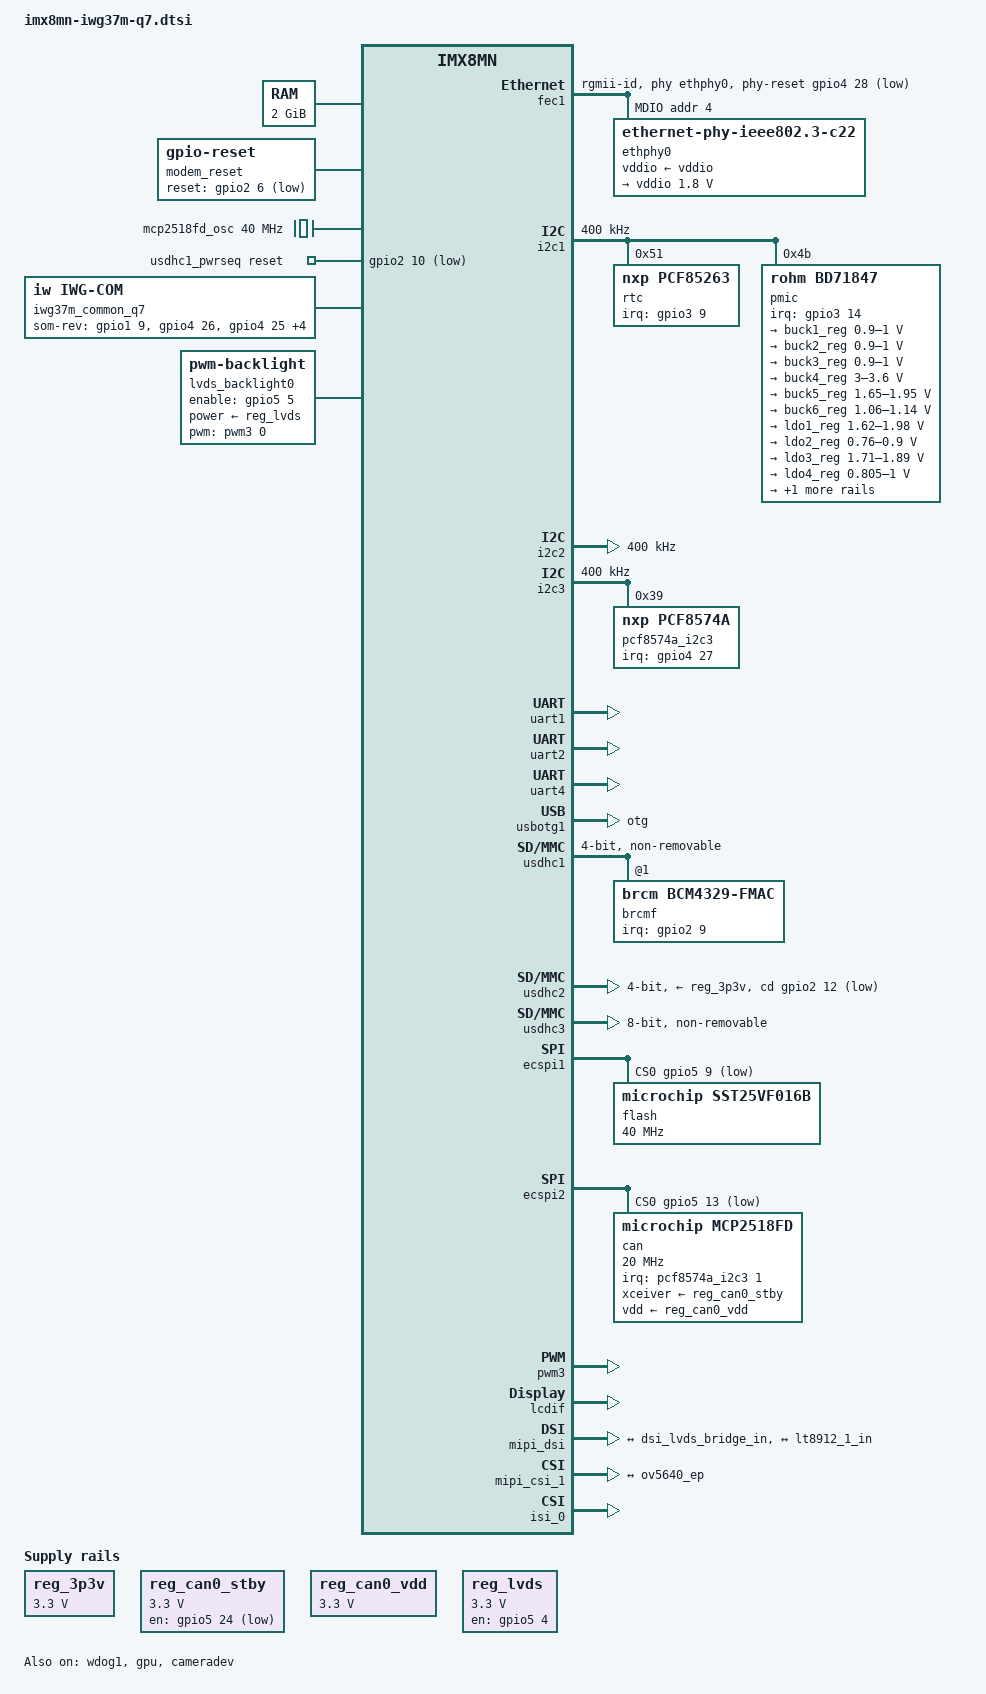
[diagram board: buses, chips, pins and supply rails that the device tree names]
// SPDX-License-Identifier: (GPL-2.0+ OR MIT)
/*
 * Copyright (C) 2022 iWave System Technologies Pvt Ltd.
 *
 * This program is free software; you can redistribute it and/or
 * modify it under the terms of the GNU General Public License
 * as published by the Free Software Foundation; either version 2
 * of the License, or (at your option) any later version.
 *
 * This program is distributed in the hope that it will be useful,
 * but WITHOUT ANY WARRANTY; without even the implied warranty of
 * MERCHANTABILITY or FITNESS FOR A PARTICULAR PURPOSE.  See the
 * GNU General Public License for more details.
 */

/dts-v1/;

#include <dt-bindings/usb/pd.h>
#include "imx8mn.dtsi"

/ {
	chosen {
		stdout-path = &uart4;
	};

	aliases { /* SD/MMC: eMMC/SD slot numbering fix */
		mmc0 = &usdhc3;
		mmc1 = &usdhc2;
		mmc2 = &usdhc1;
	};

	memory@40000000 { /* RAM: 2GB Memory support */
		device_type = "memory";
		reg = <0x0 0x40000000 0 0x80000000>;
	};

	modem_reset: modem-reset { /* BT: BT reset */
		compatible = "gpio-reset";
		reset-gpios = <&gpio2 6 GPIO_ACTIVE_LOW>;
		reset-delay-us = <2000>;
		reset-post-delay-ms = <40>;
		#reset-cells = <0>;
	};

        mcp2518fd_osc: mcp2518fd_osc {
                compatible = "fixed-clock";
                #clock-cells = <0>;
                clock-frequency = <40000000>;
        };

	usdhc1_pwrseq: usdhc1_pwrseq { /* WIFI: WIFI power sequence */
		compatible = "mmc-pwrseq-simple";
		pinctrl-names = "default";
		pinctrl-0 = <&pinctrl_usdhc1_gpio>;
		reset-gpios = <&gpio2 10 GPIO_ACTIVE_LOW>;
	};

	iwg37m_common_q7 { /* SoC Board Setttings : Board Configuration GPIOs */
		compatible = "iw,iwg-com";
		pinctrl-names = "default";
		pinctrl-0 = <&pinctrl_board_cfg>;
                som-rev-gpios = <&gpio1 9 0 &gpio4 26 0 &gpio4 25 0 &gpio5 1 0
                                 &gpio1 0 0 &gpio2 19 0 &gpio2 20 0 >;
		carrier_pcb = <0x00>;
		carrier_bom = <0x00>;
		pcb_rev = <0x00>;
		bom_rev = <0x00>;
		status = "okay";
	};

        regulators {
                compatible = "simple-bus";
                #address-cells = <1>;
                #size-cells = <0>;

                reg_3p3v: 3p3v { /* Fixed Regulator: common 3.3V Fixed regulator */
                        compatible = "regulator-fixed";
                        regulator-name = "3P3V";
                        regulator-min-microvolt = <3300000>;
                        regulator-max-microvolt = <3300000>;
                        regulator-always-on;
                };

                reg_can0_stby: regulator-can-stby0 { /* Fixed Regulator: common 3.3V Fixed regulator */
                        compatible = "regulator-fixed";
                        regulator-name = "CAN0_STBY_3P3V";
                        regulator-min-microvolt = <3300000>;
                        regulator-max-microvolt = <3300000>;
                        gpio = <&gpio5 24 GPIO_ACTIVE_LOW>;
                        regulator-always-on;
                };

                reg_can0_vdd: regulator-can-vdd { /* Fixed Regulator: common 3.3V Fixed regulator */
                        compatible = "regulator-fixed";
                        regulator-name = "CAN0_STBY_3P3V_VDD";
                        regulator-min-microvolt = <3300000>;
                        regulator-max-microvolt = <3300000>;
                        regulator-always-on;
                };

                reg_lvds: reg_lvds {
                        compatible = "regulator-fixed";
                        regulator-name = "1P8V_LVDS";
                        regulator-min-microvolt = <3300000>;
                        regulator-max-microvolt = <3300000>;
                        regulator-always-on;
                        pinctrl-names = "default";
                        pinctrl-0 = <&pinctrl_backlight>;
                        gpio = <&gpio5 4 GPIO_ACTIVE_HIGH>;
                        enable-active-high;
                };
        };

        lvds_backlight0: lvds_backlight {
                compatible = "pwm-backlight";
                pwms = <&pwm3 0 1000000 0>;
                power-supply = <&reg_lvds>;
                pinctrl-names = "default";
                pinctrl-0 = <&pinctrl_pwr>;
                enable-gpios = <&gpio5 5 GPIO_ACTIVE_HIGH>;
                status = "okay";

                brightness-levels = < 0  1  2  3  4  5  6  7  8  9
                                     10 11 12 13 14 15 16 17 18 19
                                     20 21 22 23 24 25 26 27 28 29
                                     30 31 32 33 34 35 36 37 38 39
                                     40 41 42 43 44 45 46 47 48 49
                                     50 51 52 53 54 55 56 57 58 59
                                     60 61 62 63 64 65 66 67 68 69
                                     70 71 72 73 74 75 76 77 78 79
                                     80 81 82 83 84 85 86 87 88 89
                                     90 91 92 93 94 95 96 97 98 99
                                    100>;
                default-brightness-level = <100>;
        };
};

&A53_0 {
        cpu-supply = <&buck2_reg>;
};

&A53_1 {
        cpu-supply = <&buck2_reg>;
};

&A53_2 {
        cpu-supply = <&buck2_reg>;
};

&A53_3 {
        cpu-supply = <&buck2_reg>;
};

&fec1 { /* FEC1: AR8031 PHY ENET */
	pinctrl-names = "default";
	pinctrl-0 = <&pinctrl_fec1>;
	phy-mode = "rgmii-id";
	phy-handle = <&ethphy0>;
        phy-reset-gpios = <&gpio4 28 GPIO_ACTIVE_LOW>;
	fsl,magic-packet;
	status = "okay";

	mdio {
		#address-cells = <1>;
		#size-cells = <0>;

		ethphy0: ethernet-phy@4 {
			compatible = "ethernet-phy-ieee802.3-c22";
			reg = <4>;
			at803x,led-act-blind-workaround;
                        qca,disable-smarteee;
                        vddio-supply = <&vddio>;

                        vddio: vddio-regulator {
                                regulator-min-microvolt = <1800000>;
                                regulator-max-microvolt = <1800000>;
                        };
		};
	};
};

&i2c1 { /* I2C: I2C1 Bus */
	clock-frequency = <400000>;
	pinctrl-names = "default", "gpio";
	pinctrl-0 = <&pinctrl_i2c1>;
	status = "okay";

	rtc: rtc@51 { /* RTC: PCF85263 RTC */
		compatible = "nxp,pcf85263";
		reg = <0x51>;
		pinctrl-names = "default";
		pinctrl-0 = <&pinctrl_rtc>;
		interrupt-parent = <&gpio3>;
		interrupts = <9 IRQ_TYPE_LEVEL_LOW>;
		status = "okay";
	};

	pmic: pmic@4b { /* PMIC: PMIC BD71847MWV */
		compatible = "rohm,bd71847";
		reg = <0x4b>;
		pinctrl-0 = <&pinctrl_pmic>;
		pinctrl-names = "default";
		interrupt-parent = <&gpio3>;
		interrupts = <14 GPIO_ACTIVE_LOW>;
		rohm,reset-snvs-powered;

		#clock-cells = <0>;
		clocks = <&osc_32k 0>;
		clock-output-names = "clk-32k-out";

		regulators {
			buck1_reg: BUCK1 {
				regulator-name = "BUCK1";
				regulator-min-microvolt = <900000>;
				regulator-max-microvolt = <1000000>;
				regulator-boot-on;
				regulator-always-on;
				regulator-ramp-delay = <1250>;
				rohm,dvs-run-voltage = <950000>;
				rohm,dvs-idle-voltage = <950000>;
			};

			buck2_reg: BUCK2 {
				regulator-name = "BUCK2";
				regulator-min-microvolt = <900000>;
				regulator-max-microvolt = <1000000>;
				regulator-boot-on;
				regulator-always-on;
				regulator-ramp-delay = <1250>;
				rohm,dvs-run-voltage = <950000>;
				rohm,dvs-idle-voltage = <950000>;
			};

			buck3_reg: BUCK3 {
				// BUCK5 in datasheet
				regulator-name = "BUCK3";
				regulator-min-microvolt = <900000>;
				regulator-max-microvolt = <1000000>;
				regulator-boot-on;
				regulator-always-on;
			};

			buck4_reg: BUCK4 {
				// BUCK6 in datasheet
				regulator-name = "BUCK4";
				regulator-min-microvolt = <3000000>;
				regulator-max-microvolt = <3600000>;
				regulator-boot-on;
				regulator-always-on;
			};

			buck5_reg: BUCK5 {
				// BUCK7 in datasheet
				regulator-name = "BUCK5";
				regulator-min-microvolt = <1650000>;
				regulator-max-microvolt = <1950000>;
				regulator-boot-on;
				regulator-always-on;
			};

			buck6_reg: BUCK6 {
				// BUCK8 in datasheet
				regulator-name = "BUCK6";
				regulator-min-microvolt = <1060000>;
				regulator-max-microvolt = <1140000>;
				regulator-boot-on;
				regulator-always-on;
			};

			ldo1_reg: LDO1 {
				regulator-name = "LDO1";
				regulator-min-microvolt = <1620000>;
				regulator-max-microvolt = <1980000>;
				regulator-boot-on;
				regulator-always-on;
			};

			ldo2_reg: LDO2 {
				regulator-name = "LDO2";
				regulator-min-microvolt = <760000>;
				regulator-max-microvolt = <900000>;
				regulator-boot-on;
				regulator-always-on;
			};

			ldo3_reg: LDO3 {
				regulator-name = "LDO3";
				regulator-min-microvolt = <1710000>;
				regulator-max-microvolt = <1890000>;
				regulator-boot-on;
				regulator-always-on;
			};

			ldo4_reg: LDO4 {
				regulator-name = "LDO4";
				regulator-min-microvolt = <805000>;
				regulator-max-microvolt = <1000000>;
				regulator-boot-on;
				regulator-always-on;
			};

			ldo6_reg: LDO6 {
				regulator-name = "LDO6";
				regulator-min-microvolt = <1140000>;
				regulator-max-microvolt = <1260000>;
				regulator-boot-on;
				regulator-always-on;
			};
		};
	};
};

&i2c2 { /* I2C: I2C2 Bus */
	clock-frequency = <400000>;
	pinctrl-names = "default", "gpio";
	pinctrl-0 = <&pinctrl_i2c2>;
	status = "okay";

        lt_bridge: lt8912@48 {
                compatible = "lontium,lt8912_rgb";
                reg = <0x48>;
                pinctrl-names = "default";
                pinctrl-0 = <&pinctrl_lt8912>;
                ddc-i2c-bus = <&i2c2>;
                reset-gpios = <&gpio3 1 GPIO_ACTIVE_LOW>;
                hpd-gpios = <&gpio3 0 GPIO_ACTIVE_HIGH>;
                digi,dsi-lanes = <4>;
                backlight = <&lvds_backlight0>;
                status = "disabled";

                display-timings {
                native-mode = <&timing0>;

        timing0: timing0 {
                clock-frequency = <33264000>;
                hactive = <800>;
                vactive = <480>;
                hback-porch = <88>;
                hfront-porch = <40>;
                vback-porch = <33>;
                vfront-porch = <10>;
                hsync-len = <128>;
                vsync-len = <2>;
                hsync-active = <0>;
                vsync-active = <0>;
                de-active = <0>;
                pixelclk-active = <0>;
                };
        };


                port@1 {
                        dsi_lvds_bridge_in: endpoint@1 {
                                remote-endpoint = <&mipi_dsi_lvds_out>;
                        };
                };

                port@2 {
                        lt8912_1_in: endpoint@2 {
                                /* add lanes */
                                remote-endpoint = <&mipi_dsi_hdmi_out>;
                        };
                };
        };

        ov5640: ov5640@3c { /* MIPI CSI: OV5640 Camera */
                compatible = "ovti,ov5640";
                reg = <0x3c>;
                pinctrl-names = "default";
                pinctrl-0 = <&pinctrl_csi_rst>;
                clocks = <&clk IMX8MN_CLK_CLKO1>;
                clock-names = "xclk";
                assigned-clocks = <&clk IMX8MN_CLK_CLKO1>;
                assigned-clock-parents = <&clk IMX8MN_CLK_24M>;
                assigned-clock-rates = <24000000>;
                csi_id = <0>;
                reset-gpios = <&gpio3 6 GPIO_ACTIVE_LOW>;
                mclk = <24000000>;
                mclk_source = <0>;
                mipi_csi;
                status = "disabled";
                        port {
                               ov5640_ep: endpoint {
                               remote-endpoint = <&mipi1_sensor_ep>;
                               data-lanes = <1 2>;
                               clocks-lanes = <0>;
                        };
                };
	};
};

&i2c3 { /* I2C: I2C3 Bus */
	clock-frequency = <400000>;
	pinctrl-names = "default", "gpio";
	pinctrl-0 = <&pinctrl_i2c3>;
	status = "okay";

        pcf8574a_i2c3: gpio@39 {
                compatible = "nxp,pcf8574a";
                reg = <0x39>;
                pinctrl-names = "default";
                pinctrl-0 = <&pinctrl_io>;
                wakeup-source;
                gpio-controller;
                #gpio-cells=<2>;
                interrupt-controller;
                #interrupt-cells = <2>;
                interrupt-parent = <&gpio4>;
                interrupts = <27 IRQ_TYPE_LEVEL_LOW>;
                status="okay";
        };
};

&uart1 { /* UART1: Bluetooth */
	pinctrl-names = "default";
	pinctrl-0 = <&pinctrl_uart1>;
	assigned-clocks = <&clk IMX8MN_CLK_UART1>;
	assigned-clock-parents = <&clk IMX8MN_SYS_PLL1_80M>;
	fsl,uart-has-rtscts;
	resets = <&modem_reset>;
	status = "okay";
};

&uart2 { /* UART2: Data UART */
	pinctrl-names = "default";
	pinctrl-0 = <&pinctrl_uart2>;
	assigned-clocks = <&clk IMX8MN_CLK_UART2>;
	assigned-clock-parents = <&clk IMX8MN_SYS_PLL1_80M>;
	fsl,uart-has-rtscts;
	status = "okay";
};

&uart3 { /* UART3: M7 UART */
	pinctrl-names = "default";
	pinctrl-0 = <&pinctrl_uart3>;
	assigned-clocks = <&clk IMX8MN_CLK_UART3>;
	assigned-clock-parents = <&clk IMX8MN_SYS_PLL1_80M>;
	status = "disabled";
};

&uart4 { /* UART4: Debug UART */
	pinctrl-names = "default";
	pinctrl-0 = <&pinctrl_uart4>;
	status = "okay";
};

&usbotg1 { /* USB1: USB OTG */
	pinctrl-names = "default";
	pinctrl-0 = <&pinctrl_usbotg1>;
	dr_mode = "otg";
	hnp-disable;
	srp-disable;
	adp-disable;
        samsung,picophy-pre-emp-curr-control = <3>;
	samsung,picophy-dc-vol-level-adjust = <7>;
	otg-pwr-gpio = <&gpio1 12 GPIO_ACTIVE_LOW>;
	otg-oc-gpio = <&gpio1 13 GPIO_ACTIVE_LOW>;
	status = "okay";
};

&usdhc1 { /* USDHC1: WiFi */
	#address-cells = <1>;
	#size-cells = <0>;
	pinctrl-names = "default", "state_100mhz", "state_200mhz";
	pinctrl-0 = <&pinctrl_usdhc1>, <&pinctrl_wlan>;
	pinctrl-1 = <&pinctrl_usdhc1_100mhz>, <&pinctrl_wlan>;
	pinctrl-2 = <&pinctrl_usdhc1_200mhz>, <&pinctrl_wlan>;
	bus-width = <4>;
	pm-ignore-notify;
	keep-power-in-suspend;
	non-removable;
	cap-power-off-card;
	mmc-pwrseq = <&usdhc1_pwrseq>;
	status = "okay";

	brcmf: bcrmf@1 {
		reg = <1>;
		compatible = "brcm,bcm4329-fmac";
		interrupt-parent = <&gpio2>;
		interrupts = <9 IRQ_TYPE_LEVEL_HIGH>;
		interrupt-names = "host-wake";
		status = "okay";
	};
};

&usdhc2 { /* USDHC2: Carrier Micro SD */
	pinctrl-names = "default", "state_100mhz", "state_200mhz";
	pinctrl-0 = <&pinctrl_usdhc2>, <&pinctrl_usdhc2_gpio>;
	pinctrl-1 = <&pinctrl_usdhc2_100mhz>, <&pinctrl_usdhc2_gpio>;
	pinctrl-2 = <&pinctrl_usdhc2_200mhz>, <&pinctrl_usdhc2_gpio>;
	no-1-8-v; /* Carrier board supports only Highspeed mode */
	cd-gpios = <&gpio2 12 GPIO_ACTIVE_LOW>;
	bus-width = <4>;
	vmmc-supply = <&reg_3p3v>;
	status = "okay";
};

&usdhc3 {  /* USDHC3: EMMC */
	pinctrl-names = "default", "state_100mhz", "state_200mhz";
	pinctrl-0 = <&pinctrl_usdhc3>;
	pinctrl-1 = <&pinctrl_usdhc3_100mhz>;
	pinctrl-2 = <&pinctrl_usdhc3_200mhz>;
	bus-width = <8>;
	non-removable;
	status = "okay";
};

&wdog1 { /* Watchdog */
	pinctrl-names = "default";
	pinctrl-0 = <&pinctrl_wdog>;
	fsl,ext-reset-output;
	status = "okay";
};

&gpu { /* GPU */
	status = "okay";
};

&ecspi1 { /* ECSPI1: Accessed through Expansion, not mounted by default */
	#address-cells = <1>;
	#size-cells = <0>;
	fsl,spi-num-chipselects = <1>;
	pinctrl-names = "default";
	pinctrl-0 = <&pinctrl_ecspi1>;
	cs-gpios = <&gpio5 9 GPIO_ACTIVE_LOW>;
	status = "okay";
	
        flash: m25p80@0 {
                #address-cells = <1>;
                #size-cells = <1>;
                compatible = "microchip,sst25vf016b", "jedec,spi-nor";
                spi-max-frequency = <40000000>;
                reg = <0>;
        };
};

&ecspi2 { /* ECSPI2: Accessed through Expansion, not mounted by default*/
	#address-cells = <1>;
	#size-cells = <0>;
	fsl,spi-num-chipselects = <1>;
	pinctrl-names = "default";
	pinctrl-0 = <&pinctrl_ecspi2 &pinctrl_ecspi2_cs>;
	spi-max-frequency = <20000000>;
	cs-gpios = <&gpio5 13 GPIO_ACTIVE_LOW>;
	status = "okay";
	
        can: can@0 {
                reg = <0>;
                compatible = "microchip,mcp2518fd";
                pinctrl-names = "default";
                spi-max-frequency = <20000000>;
                interrupt-parent = <&pcf8574a_i2c3>;
                interrupts = <1 IRQ_TYPE_LEVEL_LOW>;
                microchip,clock-allways-on;
                microchip,clock-out-div = <1>;
                clocks = <&mcp2518fd_osc>;
                xceiver-supply = <&reg_can0_stby>;
                vdd-supply = <&reg_can0_vdd>;
                microchip,gpio0-xstandby;
        };
};

&pwm3 { /* PWM: PWM3 Control */
	pinctrl-names = "default";
	pinctrl-0 = <&pinctrl_pwm3>;
        status = "okay";
};

&lcdif {
        status = "okay";
};

&mipi_dsi { /* MIPI DSI: MIPI To HDMI Bridge*/
        status = "okay";

        port@1 {
                mipi_dsi_lvds_out: endpoint@1 {
                        remote-endpoint = <&dsi_lvds_bridge_in>;
                        attach-bridge;
                };
        };

        port@2 {
                mipi_dsi_hdmi_out: endpoint@2 {
                        remote-endpoint = <&lt8912_1_in>;
                        attach-bridge;
                };
        };
};

&mipi_csi_1 { /* MIPI CSI: OV5640 MIPI Camera */
        #address-cells = <1>;
        #size-cells = <0>;
        status = "okay";

        port@0 {
                reg = <0>;
                mipi1_sensor_ep: endpoint {
                        remote-endpoint = <&ov5640_ep>;
                        data-lanes = <2>;
                        csis-hs-settle = <13>;
                        csis-clk-settle = <2>;
                        csis-wclk;
                };
        };
};

&isi_0 {
        status = "okay";
        cap_device {
                status = "okay";
        };
};

&cameradev {
        status = "okay";
};

&iomuxc {
	imx8mn-iwg37m-q7 {

		pinctrl_fec1: fec1grp { /* Ethernet: IOMUX Pin Configuration */
			fsl,pins = <
				MX8MN_IOMUXC_ENET_MDC_ENET1_MDC			0x3
				MX8MN_IOMUXC_ENET_MDIO_ENET1_MDIO		0x3
				MX8MN_IOMUXC_ENET_TD3_ENET1_RGMII_TD3		0x1f
				MX8MN_IOMUXC_ENET_TD2_ENET1_RGMII_TD2		0x1f
				MX8MN_IOMUXC_ENET_TD1_ENET1_RGMII_TD1		0x1f
				MX8MN_IOMUXC_ENET_TD0_ENET1_RGMII_TD0		0x1f
				MX8MN_IOMUXC_ENET_RD3_ENET1_RGMII_RD3		0x91
				MX8MN_IOMUXC_ENET_RD2_ENET1_RGMII_RD2		0x91
				MX8MN_IOMUXC_ENET_RD1_ENET1_RGMII_RD1		0x91
				MX8MN_IOMUXC_ENET_RD0_ENET1_RGMII_RD0		0x91
				MX8MN_IOMUXC_ENET_TXC_ENET1_RGMII_TXC		0x1f
				MX8MN_IOMUXC_ENET_RXC_ENET1_RGMII_RXC		0x91
				MX8MN_IOMUXC_ENET_RX_CTL_ENET1_RGMII_RX_CTL	0x91
				MX8MN_IOMUXC_ENET_TX_CTL_ENET1_RGMII_TX_CTL	0x1f
				MX8MN_IOMUXC_SAI3_RXFS_GPIO4_IO28		0x19 /* Ethernet Reset GPIO */
                                MX8MN_IOMUXC_SAI5_RXC_GPIO3_IO20                0x19 /* Ethernet Wake on LAN */
                                MX8MN_IOMUXC_SAI5_RXFS_GPIO3_IO19               0x19 /* Ethernet Interrup */
			>;
		};

		pinctrl_i2c1: i2c1grp { /* I2C1: IOMUX Pin Configuration */
			fsl,pins = <
				MX8MN_IOMUXC_I2C1_SCL_I2C1_SCL			0x400001c3
				MX8MN_IOMUXC_I2C1_SDA_I2C1_SDA			0x400001c3
			>;
		};

		pinctrl_i2c2: i2c2grp { /* I2C2: IOMUX Pin Configuration */
                        fsl,pins = <
                                MX8MN_IOMUXC_I2C2_SCL_I2C2_SCL                  0x400001c3
                                MX8MN_IOMUXC_I2C2_SDA_I2C2_SDA                  0x400001c3
                        >;
                };

                pinctrl_i2c3: i2c3grp { /* I2C3: IOMUX Pin Configuration */
                        fsl,pins = <
                                MX8MN_IOMUXC_I2C3_SCL_I2C3_SCL                  0x400001c3
                                MX8MN_IOMUXC_I2C3_SDA_I2C3_SDA                  0x400001c3
                        >;
                };

                pinctrl_io: iogrp { /* IO Expander Pin Configuration */
                        fsl,pins = <
                                MX8MN_IOMUXC_SAI2_MCLK_GPIO4_IO27               0x41
                        >;
                };

                pinctrl_pwr: pwr_grp {
                        fsl,pins = <
                                MX8MN_IOMUXC_SPDIF_RX_GPIO5_IO4                 0x41
                        >;
                };

                pinctrl_backlight: backlight_grp {
                        fsl,pins = <
                                MX8MN_IOMUXC_SPDIF_EXT_CLK_GPIO5_IO5            0x41
                        >;
                };

		pinctrl_pmic: pmicirq { /* PMIC: IOMUX Pin Configuration */
			fsl,pins = <
				MX8MN_IOMUXC_NAND_DQS_GPIO3_IO14		0x41 /* PMIC Interrupt GPIO */
			>;
		};

		pinctrl_rtc: rtcirq { /* RTC: IOMUX Pin Configuration */
			fsl,pins = <
				MX8MN_IOMUXC_NAND_DATA03_GPIO3_IO9		0x41 /* RTC Interrupt GPIO */
			>;
		};

		pinctrl_uart1: uart1grp { /* UART1: Bluetooth: IOMUX Pin Configuration */
			fsl,pins = <
                                MX8MN_IOMUXC_SAI2_RXFS_UART1_DCE_TX             0x140
                                MX8MN_IOMUXC_SAI2_RXC_UART1_DCE_RX              0x140
                                MX8MN_IOMUXC_SD1_DATA4_GPIO2_IO6                0x19
			>;
		};

		pinctrl_uart2: uart2grp { /* UART2: DATA UART: IOMUX Pin Configuration */
                        fsl,pins = <
                                MX8MN_IOMUXC_SAI3_TXC_UART2_DCE_TX              0x140
                                MX8MN_IOMUXC_SAI3_TXFS_UART2_DCE_RX             0x140
                                MX8MN_IOMUXC_SAI3_RXC_UART2_DCE_CTS_B           0x140
                                MX8MN_IOMUXC_SAI3_RXD_UART2_DCE_RTS_B           0x140
                        >;
                };

		pinctrl_uart3: uart3grp { /* UART3: M7 UART: IOMUX Pin Configuration */
			fsl,pins = <
				MX8MN_IOMUXC_UART3_TXD_UART3_DCE_TX		0x140
				MX8MN_IOMUXC_UART3_RXD_UART3_DCE_RX		0x140
			>;
		};

		pinctrl_uart4: uart4grp { /* UART4: Debug UART: IOMUX Pin Configuration */
			fsl,pins = <
				MX8MN_IOMUXC_UART4_RXD_UART4_DCE_RX		0x140
				MX8MN_IOMUXC_UART4_TXD_UART4_DCE_TX		0x140
			>;
		};

		pinctrl_wdog: wdoggrp { /* WATCHDOG: IOMUX Pin Configuration */
                        fsl,pins = <
                                MX8MN_IOMUXC_GPIO1_IO02_WDOG1_WDOG_B            0x166
                        >;
                };

		pinctrl_usdhc1_gpio: usdhc1grpgpio { /* USDHC1: WiFi: Reset GPIO IOMUX Pin Configuration */
			fsl,pins = <
				MX8MN_IOMUXC_SD1_RESET_B_GPIO2_IO10		0x41 /* USDHC1: WiFi: Reset GPIO IOMUX Pin Configuration */
			>;
		};

		pinctrl_usdhc1: usdhc1grp { /* USDHC1: SOM Micro SD/WiFi: IOMUX Pin Configuration */
			fsl,pins = <
				MX8MN_IOMUXC_SD1_CLK_USDHC1_CLK			0x190
				MX8MN_IOMUXC_SD1_CMD_USDHC1_CMD			0x1d0
				MX8MN_IOMUXC_SD1_DATA0_USDHC1_DATA0		0x1d0
				MX8MN_IOMUXC_SD1_DATA1_USDHC1_DATA1		0x1d0
				MX8MN_IOMUXC_SD1_DATA2_USDHC1_DATA2		0x1d0
				MX8MN_IOMUXC_SD1_DATA3_USDHC1_DATA3		0x1d0
                                MX8MN_IOMUXC_SD1_STROBE_GPIO2_IO11              0x159
                                MX8MN_IOMUXC_GPIO1_IO03_GPIO1_IO3               0x016
			>;
		};

		pinctrl_usdhc1_100mhz: usdhc1grp100mhz {
			fsl,pins = <
				MX8MN_IOMUXC_SD1_CLK_USDHC1_CLK			0x194
				MX8MN_IOMUXC_SD1_CMD_USDHC1_CMD			0x1d4
				MX8MN_IOMUXC_SD1_DATA0_USDHC1_DATA0		0x1d4
				MX8MN_IOMUXC_SD1_DATA1_USDHC1_DATA1		0x1d4
				MX8MN_IOMUXC_SD1_DATA2_USDHC1_DATA2		0x1d4
				MX8MN_IOMUXC_SD1_DATA3_USDHC1_DATA3		0x1d4
                                MX8MN_IOMUXC_SD1_STROBE_GPIO2_IO11              0x159
                                MX8MN_IOMUXC_GPIO1_IO03_GPIO1_IO3               0x016
			>;
		};

		pinctrl_usdhc1_200mhz: usdhc1grp200mhz {
			fsl,pins = <
				MX8MN_IOMUXC_SD1_CLK_USDHC1_CLK			0x196
				MX8MN_IOMUXC_SD1_CMD_USDHC1_CMD			0x1d6
				MX8MN_IOMUXC_SD1_DATA0_USDHC1_DATA0		0x1d6
				MX8MN_IOMUXC_SD1_DATA1_USDHC1_DATA1		0x1d6
				MX8MN_IOMUXC_SD1_DATA2_USDHC1_DATA2		0x1d6
				MX8MN_IOMUXC_SD1_DATA3_USDHC1_DATA3		0x1d6
                                MX8MN_IOMUXC_SD1_STROBE_GPIO2_IO11              0x159
                                MX8MN_IOMUXC_GPIO1_IO03_GPIO1_IO3               0x016
			>;
		};

		pinctrl_wlan: wlangrp { /* WiFi: IOMUX Pin Configuration */
                        fsl,pins = <
                                MX8MN_IOMUXC_SD1_DATA7_GPIO2_IO9                0x111 /* WIFI Host Wake GPIO */
                        >;
                };

                pinctrl_csi_rst: csi_rst_grp { /* MIPI CSI: OV5640 Camera IOMUX Pin Configuration */
                        fsl,pins = <
                                MX8MN_IOMUXC_NAND_DATA00_GPIO3_IO6              0x19 /* MIPI OV5640 Camera Reset GPIO */
                                MX8MN_IOMUXC_NAND_DATA02_GPIO3_IO8              0x19
                        >;
                };

                pinctrl_lt8912: lt8912grp {
                        fsl,pins = <
                                MX8MN_IOMUXC_NAND_ALE_GPIO3_IO0                 0x19 /* Interrupt GPIO */
                                MX8MN_IOMUXC_NAND_CE0_B_GPIO3_IO1               0x19 /* Reset GPIO */
                        >;
                };

		pinctrl_usdhc2_gpio: usdhc2grpgpio { /* USDHC2: Carrier Micro SD: Card Detect GPIO IOMUX Pin Configuration */
			fsl,pins = <
                                MX8MN_IOMUXC_SD2_CD_B_GPIO2_IO12                0x1c4 /* SD2 Card Detect GPIO */
                                MX8MN_IOMUXC_GPIO1_IO01_GPIO1_IO1               0x41
			>;
		};

		pinctrl_usdhc2: usdhc2grp { /* USDHC2: Carrier Micro SD: IOMUX Pin Configuration */
			fsl,pins = <
				MX8MN_IOMUXC_SD2_CLK_USDHC2_CLK			0x190
				MX8MN_IOMUXC_SD2_CMD_USDHC2_CMD			0x1d0
				MX8MN_IOMUXC_SD2_DATA0_USDHC2_DATA0		0x1d0
				MX8MN_IOMUXC_SD2_DATA1_USDHC2_DATA1		0x1d0
				MX8MN_IOMUXC_SD2_DATA2_USDHC2_DATA2		0x1d0
				MX8MN_IOMUXC_SD2_DATA3_USDHC2_DATA3		0x1d0
				MX8MN_IOMUXC_GPIO1_IO04_USDHC2_VSELECT		0x1d0
			>;
		};

		pinctrl_usdhc2_100mhz: usdhc2grp100mhz {
			fsl,pins = <
				MX8MN_IOMUXC_SD2_CLK_USDHC2_CLK			0x194
				MX8MN_IOMUXC_SD2_CMD_USDHC2_CMD			0x1d4
				MX8MN_IOMUXC_SD2_DATA0_USDHC2_DATA0		0x1d4
				MX8MN_IOMUXC_SD2_DATA1_USDHC2_DATA1		0x1d4
				MX8MN_IOMUXC_SD2_DATA2_USDHC2_DATA2		0x1d4
				MX8MN_IOMUXC_SD2_DATA3_USDHC2_DATA3		0x1d4
				MX8MN_IOMUXC_GPIO1_IO04_USDHC2_VSELECT		0x1d0
			>;
		};

		pinctrl_usdhc2_200mhz: usdhc2grp200mhz {
			fsl,pins = <
				MX8MN_IOMUXC_SD2_CLK_USDHC2_CLK			0x196
				MX8MN_IOMUXC_SD2_CMD_USDHC2_CMD			0x1d6
				MX8MN_IOMUXC_SD2_DATA0_USDHC2_DATA0		0x1d6
				MX8MN_IOMUXC_SD2_DATA1_USDHC2_DATA1		0x1d6
				MX8MN_IOMUXC_SD2_DATA2_USDHC2_DATA2		0x1d6
				MX8MN_IOMUXC_SD2_DATA3_USDHC2_DATA3		0x1d6
				MX8MN_IOMUXC_GPIO1_IO04_USDHC2_VSELECT		0x1d0
			>;
		};

		pinctrl_usdhc3: usdhc3grp { /* USDHC3: EMMC: IOMUX Pin Configuration*/
			fsl,pins = <
				MX8MN_IOMUXC_NAND_WE_B_USDHC3_CLK		0x190
				MX8MN_IOMUXC_NAND_WP_B_USDHC3_CMD		0x1d0
				MX8MN_IOMUXC_NAND_DATA04_USDHC3_DATA0		0x1d0
				MX8MN_IOMUXC_NAND_DATA05_USDHC3_DATA1		0x1d0
				MX8MN_IOMUXC_NAND_DATA06_USDHC3_DATA2		0x1d0
				MX8MN_IOMUXC_NAND_DATA07_USDHC3_DATA3		0x1d0
				MX8MN_IOMUXC_NAND_RE_B_USDHC3_DATA4		0x1d0
				MX8MN_IOMUXC_NAND_CE2_B_USDHC3_DATA5		0x1d0
				MX8MN_IOMUXC_NAND_CE3_B_USDHC3_DATA6		0x1d0
				MX8MN_IOMUXC_NAND_CLE_USDHC3_DATA7		0x1d0
				MX8MN_IOMUXC_NAND_CE1_B_USDHC3_STROBE 		0x190
			>;
		};

		pinctrl_usdhc3_100mhz: usdhc3grp100mhz {
			fsl,pins = <
				MX8MN_IOMUXC_NAND_WE_B_USDHC3_CLK		0x194
				MX8MN_IOMUXC_NAND_WP_B_USDHC3_CMD		0x1d4
				MX8MN_IOMUXC_NAND_DATA04_USDHC3_DATA0		0x1d4
				MX8MN_IOMUXC_NAND_DATA05_USDHC3_DATA1		0x1d4
				MX8MN_IOMUXC_NAND_DATA06_USDHC3_DATA2		0x1d4
				MX8MN_IOMUXC_NAND_DATA07_USDHC3_DATA3		0x1d4
				MX8MN_IOMUXC_NAND_RE_B_USDHC3_DATA4		0x1d4
				MX8MN_IOMUXC_NAND_CE2_B_USDHC3_DATA5		0x1d4
				MX8MN_IOMUXC_NAND_CE3_B_USDHC3_DATA6		0x1d4
				MX8MN_IOMUXC_NAND_CLE_USDHC3_DATA7		0x1d4
				MX8MN_IOMUXC_NAND_CE1_B_USDHC3_STROBE 		0x194
			>;
		};

		pinctrl_usdhc3_200mhz: usdhc3grp200mhz {
			fsl,pins = <
				MX8MN_IOMUXC_NAND_WE_B_USDHC3_CLK		0x196
				MX8MN_IOMUXC_NAND_WP_B_USDHC3_CMD		0x1d6
				MX8MN_IOMUXC_NAND_DATA04_USDHC3_DATA0		0x1d6
				MX8MN_IOMUXC_NAND_DATA05_USDHC3_DATA1		0x1d6
				MX8MN_IOMUXC_NAND_DATA06_USDHC3_DATA2		0x1d6
				MX8MN_IOMUXC_NAND_DATA07_USDHC3_DATA3		0x1d6
				MX8MN_IOMUXC_NAND_RE_B_USDHC3_DATA4		0x1d6
				MX8MN_IOMUXC_NAND_CE2_B_USDHC3_DATA5		0x1d6
				MX8MN_IOMUXC_NAND_CE3_B_USDHC3_DATA6		0x1d6
				MX8MN_IOMUXC_NAND_CLE_USDHC3_DATA7		0x1d6
				MX8MN_IOMUXC_NAND_CE1_B_USDHC3_STROBE 		0x196
			>;
		};

		pinctrl_board_cfg: brd_cfg { /* SoC Board Settings: IOMUX Pin Configuration */
			fsl,pins = <
                                MX8MN_IOMUXC_SD2_WP_GPIO2_IO20                  0x1d0
                                MX8MN_IOMUXC_SD2_RESET_B_GPIO2_IO19             0x1d5
                                MX8MN_IOMUXC_GPIO1_IO00_GPIO1_IO0               0x1d5
                                MX8MN_IOMUXC_SAI3_TXD_GPIO5_IO1                 0x1d5
                                MX8MN_IOMUXC_GPIO1_IO09_GPIO1_IO9               0x1d5
			>;
		};

		pinctrl_usbotg1: usb1grp {  /* USB1: USB OTG IOMUX Pin COnfiguration */
			fsl,pins = <
				MX8MN_IOMUXC_GPIO1_IO12_GPIO1_IO12		0x41 /*USB1 Power Enable GPIO*/
				MX8MN_IOMUXC_GPIO1_IO13_GPIO1_IO13		0x41 /*USB1 Over Current GPIO*/
			>;
		};

		pinctrl_ecspi1: ecspi1grp { /* ECSPI : ECSPI1 IOMUX Pin Configuration */
			fsl,pins = <
				MX8MN_IOMUXC_ECSPI1_SCLK_ECSPI1_SCLK		0x82
				MX8MN_IOMUXC_ECSPI1_MOSI_ECSPI1_MOSI		0x82
				MX8MN_IOMUXC_ECSPI1_MISO_ECSPI1_MISO		0x82
			>;
		};

		pinctrl_ecspi2: ecspi2grp { /* ECSPI : ECSPI2 IOMUX Pin Configuration */
			fsl,pins = <
				MX8MN_IOMUXC_ECSPI2_SCLK_ECSPI2_SCLK		0x82
				MX8MN_IOMUXC_ECSPI2_MOSI_ECSPI2_MOSI		0x82
				MX8MN_IOMUXC_ECSPI2_MISO_ECSPI2_MISO		0x82
			>;
		};

		pinctrl_ecspi2_cs: ecspi2cs { /* ECSPI : ECSPI2 SS IOMUX Pin Configuration */
			fsl,pins = <
				MX8MN_IOMUXC_ECSPI2_SS0_GPIO5_IO13		0x40000
			>;
		};

		pinctrl_pwm3: pwm3grp { /* PWM: PWM3 IOMUX Pin Configuration */
			fsl,pins = <
				MX8MN_IOMUXC_SPDIF_TX_PWM3_OUT			0x6
			>;
		};
	};
};
